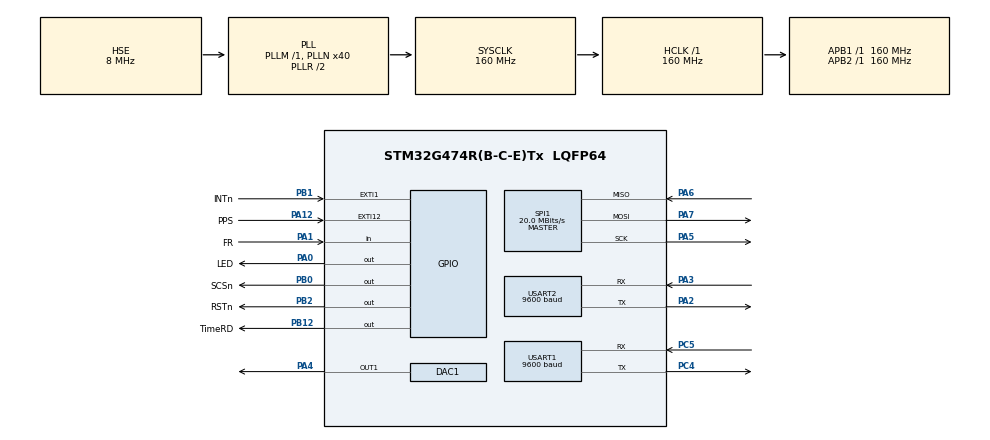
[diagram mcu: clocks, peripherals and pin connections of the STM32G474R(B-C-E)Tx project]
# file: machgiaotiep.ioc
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DAC1.DAC_Trigger_OUT1-DAC_OUT1=DAC_TRIGGER_T2_TRGO
Dma.DAC1_CH1.0.Direction=DMA_MEMORY_TO_PERIPH
Dma.DAC1_CH1.0.EventEnable=DISABLE
Dma.DAC1_CH1.0.Instance=DMA1_Channel1
Dma.DAC1_CH1.0.MemDataAlignment=DMA_MDATAALIGN_WORD
Dma.DAC1_CH1.0.MemInc=DMA_MINC_ENABLE
Dma.DAC1_CH1.0.Mode=DMA_CIRCULAR
Dma.DAC1_CH1.0.PeriphDataAlignment=DMA_PDATAALIGN_WORD
Dma.DAC1_CH1.0.PeriphInc=DMA_PINC_DISABLE
Dma.DAC1_CH1.0.Polarity=HAL_DMAMUX_REQ_GEN_RISING
Dma.DAC1_CH1.0.Priority=DMA_PRIORITY_LOW
Dma.DAC1_CH1.0.RequestNumber=1
Dma.DAC1_CH1.0.SignalID=NONE
Dma.DAC1_CH1.0.SyncEnable=DISABLE
Dma.DAC1_CH1.0.SyncPolarity=HAL_DMAMUX_SYNC_NO_EVENT
Dma.DAC1_CH1.0.SyncRequestNumber=1
Dma.DAC1_CH1.0.SyncSignalID=NONE
Dma.Request0=DAC1_CH1
Mcu.Family=STM32G4
Mcu.Name=STM32G474R(B-C-E)Tx
Mcu.Package=LQFP64
NVIC.DMA1_Channel1_IRQn=true\:0\:0\:false\:false\:true\:false\:true\:true
NVIC.EXTI15_10_IRQn=true\:0\:0\:false\:false\:true\:true\:true\:true
NVIC.EXTI1_IRQn=true\:0\:0\:false\:false\:true\:true\:true\:true
NVIC.PriorityGroup=NVIC_PRIORITYGROUP_4
NVIC.TIM3_IRQn=true\:0\:0\:false\:false\:true\:true\:true\:true
NVIC.USART1_IRQn=true\:0\:0\:false\:false\:true\:true\:true\:true
NVIC.USART2_IRQn=true\:0\:0\:false\:false\:true\:true\:true\:true
PA0.GPIO_Label=LED
PA0.Signal=GPIO_Output
PA1.GPIO_Label=FR
PA1.Signal=GPIO_Input
PA12.GPIO_Label=PPS
PA12.GPIO_ModeDefaultEXTI=GPIO_MODE_IT_FALLING
PA12.GPIO_PuPd=GPIO_PULLUP
PA12.Signal=GPXTI12
PA2.Mode=Asynchronous
PA2.Signal=USART2_TX
PA3.Mode=Asynchronous
PA3.Signal=USART2_RX
PA4.Signal=COMP_DAC11_group
PA5.Mode=Full_Duplex_Master
PA5.Signal=SPI1_SCK
PA6.Mode=Full_Duplex_Master
PA6.Signal=SPI1_MISO
PA7.Mode=Full_Duplex_Master
PA7.Signal=SPI1_MOSI
PB0.GPIO_Label=SCSn
PB0.Signal=GPIO_Output
PB1.GPIO_Label=INTn
PB1.GPIO_ModeDefaultEXTI=GPIO_MODE_IT_FALLING
PB1.GPIO_PuPd=GPIO_PULLUP
PB1.Signal=GPXTI1
PB12.GPIO_Label=TimeRD
PB12.Signal=GPIO_Output
PB2.GPIO_Label=RSTn
PB2.Signal=GPIO_Output
PC4.Mode=Asynchronous
PC4.Signal=USART1_TX
PC5.Mode=Asynchronous
PC5.Signal=USART1_RX
PF0-OSC_IN.Mode=HSE-External-Oscillator
PF0-OSC_IN.Signal=RCC_OSC_IN
PF1-OSC_OUT.Mode=HSE-External-Oscillator
PF1-OSC_OUT.Signal=RCC_OSC_OUT
ProjectManager.HeapSize=0x200
ProjectManager.StackSize=0x400
ProjectManager.TargetToolchain=MDK-ARM V5
RCC.ADC12Freq_Value=160000000
RCC.ADC345Freq_Value=160000000
RCC.AHBFreq_Value=160000000
RCC.APB1Freq_Value=160000000
RCC.APB1TimFreq_Value=160000000
RCC.APB2Freq_Value=160000000
RCC.APB2TimFreq_Value=160000000
RCC.CortexFreq_Value=160000000
RCC.EXTERNAL_CLOCK_VALUE=12288000
RCC.HCLKFreq_Value=160000000
RCC.HSE_VALUE=8000000
RCC.HSI48_VALUE=48000000
RCC.HSI_VALUE=16000000
RCC.LSE_VALUE=32768
RCC.PLLN=40
RCC.PLLSourceVirtual=RCC_PLLSOURCE_HSE
RCC.SYSCLKFreq_VALUE=160000000
RCC.SYSCLKSource=RCC_SYSCLKSOURCE_PLLCLK
RCC.USBFreq_Value=160000000
RCC.VCOOutputFreq_Value=320000000
SH.COMP_DAC11_group.0=DAC1_OUT1,DAC_OUT1
SPI1.BaudRatePrescaler=SPI_BAUDRATEPRESCALER_8
SPI1.CLKPhase=SPI_PHASE_2EDGE
SPI1.CLKPolarity=SPI_POLARITY_HIGH
SPI1.CalculateBaudRate=20.0 MBits/s
SPI1.DataSize=SPI_DATASIZE_8BIT
SPI1.Direction=SPI_DIRECTION_2LINES
SPI1.Mode=SPI_MODE_MASTER
SPI1.VirtualType=VM_MASTER
TIM2.PeriodNoDither=1249
TIM2.TIM_MasterOutputTrigger=TIM_TRGO_UPDATE
TIM3.AutoReloadPreload=TIM_AUTORELOAD_PRELOAD_DISABLE
TIM3.PeriodNoDither=1000-1
TIM3.Prescaler=160-1
TIM4.AutoReloadPreload=TIM_AUTORELOAD_PRELOAD_DISABLE
TIM4.PeriodNoDither=9999
TIM4.Prescaler=16000-1
USART1.BaudRate=9600
USART1.VirtualMode-Asynchronous=VM_ASYNC
USART2.BaudRate=9600
USART2.VirtualMode-Asynchronous=VM_ASYNC
VP_SYS_VS_DBSignals.Mode=DisableDeadBatterySignals
VP_TIM2_VS_ClockSourceINT.Mode=Internal
VP_TIM3_VS_ClockSourceINT.Mode=Internal
VP_TIM4_VS_ClockSourceINT.Mode=Internal
board=custom

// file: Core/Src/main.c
/* USER CODE BEGIN Header */
/**
  ******************************************************************************
  * @file           : main.c
  * @brief          : Main program body
  ******************************************************************************
  * @attention
  *
  * Copyright (c) 2022 STMicroelectronics.
  * All rights reserved.
  *
  * This software is licensed under terms that can be found in the LICENSE file
  * in the root directory of this software component.
  * If no LICENSE file comes with this software, it is provided AS-IS.
  *
  ******************************************************************************
  */
/* USER CODE END Header */
#include "main.h"

/* USER CODE BEGIN Includes */
#include <stdint.h>
#include <string.h>
#include <time.h>
#include "stdio.h"

#include "wizchip_conf.h"
#include "irigb.h"

#include "httpServer.h"
#include "webpage.h"
#include "snmp.h"

/* USER CODE END Includes */

/* USER CODE BEGIN PTD */
#define fractionOfSecond TIM4->CNT
/* USER CODE END PTD */

/* USER CODE BEGIN PM */

//#define irigb_debug
//bo dem irigB 0-99
int8_t codecounter = 0;
volatile unsigned int hourcode=0, minutecode=0, secondcode=0, daycode=0, monthcode=0, yearcode=0, nodaycode=0;
uint8_t startbuildcode,stopbuildcode;
void resetirigbcode(void);
volatile char time_buff1[7], time_buff2[7];
volatile char date_buff1[7], date_buff2[7];
unsigned char daysofmonth[12]={31,28,31,30,31,30,31,31,30,31,30,31};
unsigned char daysofmonth2[12]={31,29,31,30,31,30,31,31,30,31,30,31};
//unsigned long timeofday=0;
/* end of irigb variables -------------------------------------------------------------*/

extern time_t unixTime_last_sync;
extern uint8_t serverPacket[];
extern time_t micros_recv;
//time_t micros_offset = 0;
//time_t transmitTime = 0;
//time_t micros_transmit = 0;
extern time_t recvTime;

time_t timenow = 1651133756;
struct tm* timeinfo;

uint32_t	_loop1=0;
wiz_NetInfo myipWIZNETINFO = { .mac = {0x0A, 0x09, 0xDC,0x4F, 0xEB, 0x6F},
															 .ip = {192, 168, 6, 100},
															 .sn = {255,255,255,1},
															 .gw = {192, 168, 6, 1},
															 .dns = {8,8,8,8},
															 .dhcp = NETINFO_STATIC };

uint8_t u1Timeout = 0;
uint8_t u2Timeout = 0;
uint32_t timct=0;

//for smnp
// lost signal : if after timeOutLostSignal seconds without GPS master message => lost
int8_t lostSignal = 0;
int8_t timeOutLostSignal = 30;
uint8_t gps1_stt = 0;
uint8_t gps2_stt = 0;
uint8_t power1_stt = 0;
uint8_t power2_stt = 0;
uint8_t SNMPmanagerIP[4] ={192, 168, 6, 164};
uint8_t SNMPagentIP[4]   ={192, 168, 6, 164};

uint8_t days = 0;
uint8_t months = 0;
uint8_t years = 0;
uint8_t hours = 0;
uint8_t minutes = 0;
uint8_t seconds = 0;
struct tm currtime;

//NTP client
extern uint16_t RetrySend ; //60 giay
extern uint16_t sycnPeriod ;// 1 gio
void SNTP_init(void);
int8_t SNTP_run(void);

//UART
/* Size of Reception buffer */
#define RXBUFFERSIZE                      100
/* Buffer used for reception */
uint8_t aRxBuffer[RXBUFFERSIZE];
volatile uint32_t snmp_tick_1ms = 0;
/* USER CODE END PM */

 DAC_HandleTypeDef hdac1;
DMA_HandleTypeDef hdma_dac1_ch1;

SPI_HandleTypeDef hspi1;

TIM_HandleTypeDef htim2;
TIM_HandleTypeDef htim3;
TIM_HandleTypeDef htim4;

UART_HandleTypeDef huart1;
UART_HandleTypeDef huart2;

void SystemClock_Config(void);
static void MX_GPIO_Init(void);
static void MX_DMA_Init(void);
static void MX_DAC1_Init(void);
static void MX_SPI1_Init(void);
static void MX_TIM2_Init(void);
static void MX_TIM3_Init(void);
static void MX_TIM4_Init(void);
static void MX_USART1_UART_Init(void);
static void MX_USART2_UART_Init(void);

/* USER CODE BEGIN 0 */
void storeValue(void);
void loadValue(void);
void w5500_lib_init(void);
void ntpserverdefaultconfig(void);
void INT_NTP(void);
int32_t NTPUDP(void);

void main_message_handle(void);
void u1_message_handle(void);
void build_irigB_code(void);
/* USER CODE END 0 */

int main(void)
{
  /* USER CODE BEGIN 1 */
  int32_t ret = 0;
	int8_t count_to_send_main=0;
	char msg[100];
  /* USER CODE END 1 */

  /* MCU Configuration--------------------------------------------------------*/

  /* Reset of all peripherals, Initializes the Flash interface and the Systick. */
  HAL_Init();

  /* Configure the system clock */
  SystemClock_Config();

  /* Initialize all configured peripherals */
  MX_GPIO_Init();
  MX_DMA_Init();
  MX_DAC1_Init();
  MX_SPI1_Init();
  MX_TIM2_Init();
  MX_TIM3_Init();
  MX_TIM4_Init();
  MX_USART1_UART_Init();
  MX_USART2_UART_Init();
  /* USER CODE BEGIN 2 */
  printf("This code gen by STMcube; STM32G474RBT6@160MHz\r\n");

	//storeValue();
	//loadValue();
	w5500_lib_init();

	HAL_GPIO_WritePin(TimeRD_GPIO_Port, TimeRD_Pin, GPIO_PIN_SET);
	HAL_UART_Transmit(&huart1, (uint8_t *)"UART1 TX ok\r\n", 13, 100);
	sprintf(msg,"IP %d.%d.%d.%d\r\n",myipWIZNETINFO.ip[0],myipWIZNETINFO.ip[1],myipWIZNETINFO.ip[2],myipWIZNETINFO.ip[3]);
	HAL_UART_Transmit(&huart1, (uint8_t *)msg, 20, 100);
	HAL_GPIO_WritePin(TimeRD_GPIO_Port, TimeRD_Pin, GPIO_PIN_RESET);

	HAL_DAC_Start(&hdac1, DAC_CHANNEL_1);
	HAL_DAC_Start_DMA(&hdac1, DAC_CHANNEL_1, (uint32_t*)_Bit0, 1280, DAC_ALIGN_12B_R);

	HAL_TIM_Base_Start(&htim2);
	HAL_TIM_Base_Start_IT(&htim3);
	HAL_TIM_Base_Start(&htim4);
  /* USER CODE END 2 */

  /* Infinite loop */
  /* USER CODE BEGIN WHILE */

	//SNTP_init();

	printf("Run\r\n");
	unixTime_last_sync = timenow;
	timeinfo = localtime( &timenow );
	printf("Current local time and date: %s\r\n", asctime(timeinfo));

	//printf("HH-MM-SS :%d-%d-%d\r\n",timeinfo->tm_hour,timeinfo->tm_min,timeinfo->tm_sec);
	//printf("DD-MM-YY :%d-%d-%d\r\n",timeinfo->tm_mday,1+timeinfo->tm_mon,timeinfo->tm_year-100);
	codecounter = 0;
	days = timeinfo->tm_mday;
  months = 1+timeinfo->tm_mon;
  years = timeinfo->tm_year-100;
  hours = timeinfo->tm_hour;
  minutes = timeinfo->tm_min;
  seconds = timeinfo->tm_sec;

  build_irigB_code();
	ntpserverdefaultconfig();
	/* SNMP(Simple Network Management Protocol) Agent Initialize */
	// NMS (SNMP manager) IP address
	//snmpd_init(SNMPmanagerIP,SNMPagentIP,SOCK_agent,SOCK_trap);
	snmp_init();
	loadwebpages();
	fractionOfSecond = 0;

	HAL_UART_Abort(&huart2);
  if (HAL_UART_Receive_IT(&huart2, (uint8_t *)aRxBuffer, RXBUFFERSIZE) != HAL_OK)
  {
    /* Transfer error in reception process */
    Error_Handler();
  }

  while (1)
  {

    /* USER CODE END WHILE */

    /* USER CODE BEGIN 3 */
		if(u2Timeout == 1)
			{
				u2Timeout = 0;
				main_message_handle();

				//printf("aRxBuffer %s; \r\n",aRxBuffer);
				huart2.pRxBuffPtr = (uint8_t *)aRxBuffer;
				huart2.RxXferCount = RXBUFFERSIZE;
				memset(aRxBuffer,0,RXBUFFERSIZE);
			}
		if( (ret = NTPUDP()) < 0) {
				printf("SOCKET ERROR : %d\r\n", ret);
				NVIC_SystemReset();
		}
		if(u2Timeout == 1)
			{
				u2Timeout = 0;
				main_message_handle();

				//printf("aRxBuffer %s; \r\n",aRxBuffer);
				huart2.pRxBuffPtr = (uint8_t *)aRxBuffer;
				huart2.RxXferCount = RXBUFFERSIZE;
				memset(aRxBuffer,0,RXBUFFERSIZE);
			}
		{	//SNMPv1 run
			//Run SNMP Agent Fucntion
			/* SNMP Agent Handler */
			//SMI Network Management Private Enterprise Codes: : moi cong ty phai dang ky 1 so rieng,
			//tham khao : https://www.iana.org/assignments/enterprise-numbers/enterprise-numbers
			// Vi du Arduino : 36582
    	// SNMP Agent daemon process : User can add the OID and OID mapped functions to snmpData[] array in snmprun.c/.h
			// [net-snmp version 5.7 package for windows] is used for this demo.
			// * Command example
    	// [Command] Get:			  snmpget -v 1 -c public 192.168.22.163 .1.3.6.1.2.1.1.1.0 			// (sysDescr)
    	// [Command] Get: 			snmpget -v 1 -c public 192.168.1.165 .1.3.6.1.4.1.6.1.0 			// (Custom, get LED status)
    	// [Command] Get-Next: 	snmpwalk -v 1 -c public 192.168.22.163 .1.3.6.1
			// [Command] Set: 			snmpset -v 1 -c public 192.168.1.165 .1.3.6.1.4.1.6.1.1 i 1			// (Custom, LED 'On')
    	// [Command] Set: 			snmpset -v 1 -c public 192.168.1.165 .1.3.6.1.4.1.6.1.1 i 0			// (Custom, LED 'Off')
			snmpd_run2();

		}
		if(u2Timeout == 1)
			{
				u2Timeout = 0;
				main_message_handle();

				//printf("aRxBuffer %s; \r\n",aRxBuffer);
				huart2.pRxBuffPtr = (uint8_t *)aRxBuffer;
				huart2.RxXferCount = RXBUFFERSIZE;
				memset(aRxBuffer,0,RXBUFFERSIZE);
			}
		// web server
			httpServer_run(0);
			httpServer_run(1);
			httpServer_run(2);
		if(u2Timeout == 1)
			{
				u2Timeout = 0;
				main_message_handle();

				//printf("aRxBuffer %s; \r\n",aRxBuffer);
				huart2.pRxBuffPtr = (uint8_t *)aRxBuffer;
				huart2.RxXferCount = RXBUFFERSIZE;
				memset(aRxBuffer,0,RXBUFFERSIZE);
			}
		SNTP_run();
		if(u2Timeout == 1)
			{
				u2Timeout = 0;
				main_message_handle();

				//printf("aRxBuffer %s; \r\n",aRxBuffer);
				huart2.pRxBuffPtr = (uint8_t *)aRxBuffer;
				huart2.RxXferCount = RXBUFFERSIZE;
				memset(aRxBuffer,0,RXBUFFERSIZE);
			}

			if(timct > 1000) {
			timct = 0;
			timenow++;
			count_to_send_main++;

			RetrySend++;
			sycnPeriod++;

			HAL_GPIO_WritePin(LED_GPIO_Port, LED_Pin, GPIO_PIN_RESET);

			//printf("1s\r\n");
			HAL_Delay(50);
			HAL_GPIO_WritePin(LED_GPIO_Port, LED_Pin, GPIO_PIN_SET);

			HAL_Delay(50);

		}
		//sau bao lau thi gui thong tin cho mach main?
		if(count_to_send_main > 5)
		{
			count_to_send_main = 0;
			//printf("IP:%02X.%02X.%02X.%02X\r\n",myipWIZNETINFO.ip[0],myipWIZNETINFO.ip[1],myipWIZNETINFO.ip[2],myipWIZNETINFO.ip[3]);
			printf("IP :%d.%d.%d.%d",myipWIZNETINFO.ip[0],myipWIZNETINFO.ip[1],myipWIZNETINFO.ip[2],myipWIZNETINFO.ip[3]);
		}
		if(u2Timeout == 1)
			{
				u2Timeout = 0;
				main_message_handle();

				//printf("aRxBuffer %s; \r\n",aRxBuffer);
				huart2.pRxBuffPtr = (uint8_t *)aRxBuffer;
				huart2.RxXferCount = RXBUFFERSIZE;
				memset(aRxBuffer,0,RXBUFFERSIZE);
			}
		if(u1Timeout == 1)
			{
				u1Timeout = 0;
				u1_message_handle();
			}
  }
  /* USER CODE END 3 */
}

void SystemClock_Config(void)
{
  RCC_OscInitTypeDef RCC_OscInitStruct = {0};
  RCC_ClkInitTypeDef RCC_ClkInitStruct = {0};

  /** Configure the main internal regulator output voltage
  */
  HAL_PWREx_ControlVoltageScaling(PWR_REGULATOR_VOLTAGE_SCALE1_BOOST);

  /** Initializes the RCC Oscillators according to the specified parameters
  * in the RCC_OscInitTypeDef structure.
  */
  RCC_OscInitStruct.OscillatorType = RCC_OSCILLATORTYPE_HSE;
  RCC_OscInitStruct.HSEState = RCC_HSE_ON;
  RCC_OscInitStruct.PLL.PLLState = RCC_PLL_ON;
  RCC_OscInitStruct.PLL.PLLSource = RCC_PLLSOURCE_HSE;
  RCC_OscInitStruct.PLL.PLLM = RCC_PLLM_DIV1;
  RCC_OscInitStruct.PLL.PLLN = 40;
  RCC_OscInitStruct.PLL.PLLP = RCC_PLLP_DIV2;
  RCC_OscInitStruct.PLL.PLLQ = RCC_PLLQ_DIV2;
  RCC_OscInitStruct.PLL.PLLR = RCC_PLLR_DIV2;
  if (HAL_RCC_OscConfig(&RCC_OscInitStruct) != HAL_OK)
  {
    Error_Handler();
  }

  /** Initializes the CPU, AHB and APB buses clocks
  */
  RCC_ClkInitStruct.ClockType = RCC_CLOCKTYPE_HCLK|RCC_CLOCKTYPE_SYSCLK
                              |RCC_CLOCKTYPE_PCLK1|RCC_CLOCKTYPE_PCLK2;
  RCC_ClkInitStruct.SYSCLKSource = RCC_SYSCLKSOURCE_PLLCLK;
  RCC_ClkInitStruct.AHBCLKDivider = RCC_SYSCLK_DIV1;
  RCC_ClkInitStruct.APB1CLKDivider = RCC_HCLK_DIV1;
  RCC_ClkInitStruct.APB2CLKDivider = RCC_HCLK_DIV1;

  if (HAL_RCC_ClockConfig(&RCC_ClkInitStruct, FLASH_LATENCY_4) != HAL_OK)
  {
    Error_Handler();
  }
}

static void MX_DAC1_Init(void)
{

  DAC_ChannelConfTypeDef sConfig = {0};

  /** DAC Initialization
  */
  hdac1.Instance = DAC1;
  if (HAL_DAC_Init(&hdac1) != HAL_OK)
  {
    Error_Handler();
  }

  /** DAC channel OUT1 config
  */
  sConfig.DAC_HighFrequency = DAC_HIGH_FREQUENCY_INTERFACE_MODE_AUTOMATIC;
  sConfig.DAC_DMADoubleDataMode = DISABLE;
  sConfig.DAC_SignedFormat = DISABLE;
  sConfig.DAC_SampleAndHold = DAC_SAMPLEANDHOLD_DISABLE;
  sConfig.DAC_Trigger = DAC_TRIGGER_T2_TRGO;
  sConfig.DAC_Trigger2 = DAC_TRIGGER_NONE;
  sConfig.DAC_OutputBuffer = DAC_OUTPUTBUFFER_ENABLE;
  sConfig.DAC_ConnectOnChipPeripheral = DAC_CHIPCONNECT_EXTERNAL;
  sConfig.DAC_UserTrimming = DAC_TRIMMING_FACTORY;
  if (HAL_DAC_ConfigChannel(&hdac1, &sConfig, DAC_CHANNEL_1) != HAL_OK)
  {
    Error_Handler();
  }

}

static void MX_SPI1_Init(void)
{

  /* SPI1 parameter configuration*/
  hspi1.Instance = SPI1;
  hspi1.Init.Mode = SPI_MODE_MASTER;
  hspi1.Init.Direction = SPI_DIRECTION_2LINES;
  hspi1.Init.DataSize = SPI_DATASIZE_8BIT;
  hspi1.Init.CLKPolarity = SPI_POLARITY_HIGH;
  hspi1.Init.CLKPhase = SPI_PHASE_2EDGE;
  hspi1.Init.NSS = SPI_NSS_SOFT;
  hspi1.Init.BaudRatePrescaler = SPI_BAUDRATEPRESCALER_8;
  hspi1.Init.FirstBit = SPI_FIRSTBIT_MSB;
  hspi1.Init.TIMode = SPI_TIMODE_DISABLE;
  hspi1.Init.CRCCalculation = SPI_CRCCALCULATION_DISABLE;
  hspi1.Init.CRCPolynomial = 7;
  hspi1.Init.CRCLength = SPI_CRC_LENGTH_DATASIZE;
  hspi1.Init.NSSPMode = SPI_NSS_PULSE_DISABLE;
  if (HAL_SPI_Init(&hspi1) != HAL_OK)
  {
    Error_Handler();
  }

}

static void MX_TIM2_Init(void)
{

  TIM_ClockConfigTypeDef sClockSourceConfig = {0};
  TIM_MasterConfigTypeDef sMasterConfig = {0};

  htim2.Instance = TIM2;
  htim2.Init.Prescaler = 0;
  htim2.Init.CounterMode = TIM_COUNTERMODE_UP;
  htim2.Init.Period = 1249;
  htim2.Init.ClockDivision = TIM_CLOCKDIVISION_DIV1;
  htim2.Init.AutoReloadPreload = TIM_AUTORELOAD_PRELOAD_DISABLE;
  if (HAL_TIM_Base_Init(&htim2) != HAL_OK)
  {
    Error_Handler();
  }
  sClockSourceConfig.ClockSource = TIM_CLOCKSOURCE_INTERNAL;
  if (HAL_TIM_ConfigClockSource(&htim2, &sClockSourceConfig) != HAL_OK)
  {
    Error_Handler();
  }
  sMasterConfig.MasterOutputTrigger = TIM_TRGO_UPDATE;
  sMasterConfig.MasterSlaveMode = TIM_MASTERSLAVEMODE_DISABLE;
  if (HAL_TIMEx_MasterConfigSynchronization(&htim2, &sMasterConfig) != HAL_OK)
  {
    Error_Handler();
  }

}

static void MX_TIM3_Init(void)
{

  TIM_ClockConfigTypeDef sClockSourceConfig = {0};
  TIM_MasterConfigTypeDef sMasterConfig = {0};

  /* USER CODE BEGIN TIM3_Init 1 */
  //1ms counter
  /* USER CODE END TIM3_Init 1 */
  htim3.Instance = TIM3;
  htim3.Init.Prescaler = 160-1;
  htim3.Init.CounterMode = TIM_COUNTERMODE_UP;
  htim3.Init.Period = 999;
  htim3.Init.ClockDivision = TIM_CLOCKDIVISION_DIV1;
  htim3.Init.AutoReloadPreload = TIM_AUTORELOAD_PRELOAD_DISABLE;
  if (HAL_TIM_Base_Init(&htim3) != HAL_OK)
  {
    Error_Handler();
  }
  sClockSourceConfig.ClockSource = TIM_CLOCKSOURCE_INTERNAL;
  if (HAL_TIM_ConfigClockSource(&htim3, &sClockSourceConfig) != HAL_OK)
  {
    Error_Handler();
  }
  sMasterConfig.MasterOutputTrigger = TIM_TRGO_RESET;
  sMasterConfig.MasterSlaveMode = TIM_MASTERSLAVEMODE_DISABLE;
  if (HAL_TIMEx_MasterConfigSynchronization(&htim3, &sMasterConfig) != HAL_OK)
  {
    Error_Handler();
  }

}

static void MX_TIM4_Init(void)
{

  TIM_ClockConfigTypeDef sClockSourceConfig = {0};
  TIM_MasterConfigTypeDef sMasterConfig = {0};

  /* USER CODE BEGIN TIM4_Init 1 */
	//	16/Aug/2019, Tuan, use Timer for make a couter 0-0.9999 second for NTP fraction
	//timer uptade frequency = TIM_CLK/(TIM_PSC+1)/(TIM_ARR + 1)
	//TIM_CLK/(TIM_Period + 1) /(Prescaler+1)
  /* USER CODE END TIM4_Init 1 */
  htim4.Instance = TIM4;
  htim4.Init.Prescaler = 16000-1;
  htim4.Init.CounterMode = TIM_COUNTERMODE_UP;
  htim4.Init.Period = 9999;
  htim4.Init.ClockDivision = TIM_CLOCKDIVISION_DIV1;
  htim4.Init.AutoReloadPreload = TIM_AUTORELOAD_PRELOAD_DISABLE;
  if (HAL_TIM_Base_Init(&htim4) != HAL_OK)
  {
    Error_Handler();
  }
  sClockSourceConfig.ClockSource = TIM_CLOCKSOURCE_INTERNAL;
  if (HAL_TIM_ConfigClockSource(&htim4, &sClockSourceConfig) != HAL_OK)
  {
    Error_Handler();
  }
  sMasterConfig.MasterOutputTrigger = TIM_TRGO_RESET;
  sMasterConfig.MasterSlaveMode = TIM_MASTERSLAVEMODE_DISABLE;
  if (HAL_TIMEx_MasterConfigSynchronization(&htim4, &sMasterConfig) != HAL_OK)
  {
    Error_Handler();
  }

}

static void MX_USART1_UART_Init(void)
{

  huart1.Instance = USART1;
  huart1.Init.BaudRate = 9600;
  huart1.Init.WordLength = UART_WORDLENGTH_8B;
  huart1.Init.StopBits = UART_STOPBITS_1;
  huart1.Init.Parity = UART_PARITY_NONE;
  huart1.Init.Mode = UART_MODE_TX_RX;
  huart1.Init.HwFlowCtl = UART_HWCONTROL_NONE;
  huart1.Init.OverSampling = UART_OVERSAMPLING_16;
  huart1.Init.OneBitSampling = UART_ONE_BIT_SAMPLE_DISABLE;
  huart1.Init.ClockPrescaler = UART_PRESCALER_DIV1;
  huart1.AdvancedInit.AdvFeatureInit = UART_ADVFEATURE_NO_INIT;
  if (HAL_UART_Init(&huart1) != HAL_OK)
  {
    Error_Handler();
  }
  if (HAL_UARTEx_SetTxFifoThreshold(&huart1, UART_TXFIFO_THRESHOLD_1_8) != HAL_OK)
  {
    Error_Handler();
  }
  if (HAL_UARTEx_SetRxFifoThreshold(&huart1, UART_RXFIFO_THRESHOLD_1_8) != HAL_OK)
  {
    Error_Handler();
  }
  if (HAL_UARTEx_DisableFifoMode(&huart1) != HAL_OK)
  {
    Error_Handler();
  }

}

static void MX_USART2_UART_Init(void)
{

  huart2.Instance = USART2;
  huart2.Init.BaudRate = 9600;
  huart2.Init.WordLength = UART_WORDLENGTH_8B;
  huart2.Init.StopBits = UART_STOPBITS_1;
  huart2.Init.Parity = UART_PARITY_NONE;
  huart2.Init.Mode = UART_MODE_TX_RX;
  huart2.Init.HwFlowCtl = UART_HWCONTROL_NONE;
  huart2.Init.OverSampling = UART_OVERSAMPLING_16;
  huart2.Init.OneBitSampling = UART_ONE_BIT_SAMPLE_DISABLE;
  huart2.Init.ClockPrescaler = UART_PRESCALER_DIV1;
  huart2.AdvancedInit.AdvFeatureInit = UART_ADVFEATURE_NO_INIT;
  if (HAL_UART_Init(&huart2) != HAL_OK)
  {
    Error_Handler();
  }
  if (HAL_UARTEx_SetTxFifoThreshold(&huart2, UART_TXFIFO_THRESHOLD_1_8) != HAL_OK)
  {
    Error_Handler();
  }
  if (HAL_UARTEx_SetRxFifoThreshold(&huart2, UART_RXFIFO_THRESHOLD_1_8) != HAL_OK)
  {
    Error_Handler();
  }
  if (HAL_UARTEx_DisableFifoMode(&huart2) != HAL_OK)
  {
    Error_Handler();
  }

}

static void MX_DMA_Init(void)
{

  /* DMA controller clock enable */
  __HAL_RCC_DMAMUX1_CLK_ENABLE();
  __HAL_RCC_DMA1_CLK_ENABLE();

  /* DMA interrupt init */
  /* DMA1_Channel1_IRQn interrupt configuration */
  HAL_NVIC_SetPriority(DMA1_Channel1_IRQn, 0, 0);
  HAL_NVIC_EnableIRQ(DMA1_Channel1_IRQn);

}

static void MX_GPIO_Init(void)
{
  GPIO_InitTypeDef GPIO_InitStruct = {0};

  /* GPIO Ports Clock Enable */
  __HAL_RCC_GPIOF_CLK_ENABLE();
  __HAL_RCC_GPIOA_CLK_ENABLE();
  __HAL_RCC_GPIOC_CLK_ENABLE();
  __HAL_RCC_GPIOB_CLK_ENABLE();

  /*Configure GPIO pin Output Level */
  HAL_GPIO_WritePin(LED_GPIO_Port, LED_Pin, GPIO_PIN_RESET);

  /*Configure GPIO pin Output Level */
  HAL_GPIO_WritePin(GPIOB, SCSn_Pin|RSTn_Pin|TimeRD_Pin, GPIO_PIN_RESET);

  /*Configure GPIO pin : LED_Pin */
  GPIO_InitStruct.Pin = LED_Pin;
  GPIO_InitStruct.Mode = GPIO_MODE_OUTPUT_PP;
  GPIO_InitStruct.Pull = GPIO_NOPULL;
  GPIO_InitStruct.Speed = GPIO_SPEED_FREQ_LOW;
  HAL_GPIO_Init(LED_GPIO_Port, &GPIO_InitStruct);

  /*Configure GPIO pin : FR_Pin */
  GPIO_InitStruct.Pin = FR_Pin;
  GPIO_InitStruct.Mode = GPIO_MODE_INPUT;
  GPIO_InitStruct.Pull = GPIO_NOPULL;
  HAL_GPIO_Init(FR_GPIO_Port, &GPIO_InitStruct);

  /*Configure GPIO pins : SCSn_Pin RSTn_Pin TimeRD_Pin */
  GPIO_InitStruct.Pin = SCSn_Pin|RSTn_Pin|TimeRD_Pin;
  GPIO_InitStruct.Mode = GPIO_MODE_OUTPUT_PP;
  GPIO_InitStruct.Pull = GPIO_NOPULL;
  GPIO_InitStruct.Speed = GPIO_SPEED_FREQ_LOW;
  HAL_GPIO_Init(GPIOB, &GPIO_InitStruct);

  /*Configure GPIO pin : INTn_Pin */
  GPIO_InitStruct.Pin = INTn_Pin;
  GPIO_InitStruct.Mode = GPIO_MODE_IT_FALLING;
  GPIO_InitStruct.Pull = GPIO_PULLUP;
  HAL_GPIO_Init(INTn_GPIO_Port, &GPIO_InitStruct);

  /*Configure GPIO pin : PPS_Pin */
  GPIO_InitStruct.Pin = PPS_Pin;
  GPIO_InitStruct.Mode = GPIO_MODE_IT_FALLING;
  GPIO_InitStruct.Pull = GPIO_PULLUP;
  HAL_GPIO_Init(PPS_GPIO_Port, &GPIO_InitStruct);

  /* EXTI interrupt init*/
  HAL_NVIC_SetPriority(EXTI1_IRQn, 0, 0);
  HAL_NVIC_EnableIRQ(EXTI1_IRQn);

  HAL_NVIC_SetPriority(EXTI15_10_IRQn, 0, 0);
  HAL_NVIC_EnableIRQ(EXTI15_10_IRQn);

}

/* USER CODE BEGIN 4 */
/**
  * @brief EXTI line detection callbacks
  * @param GPIO_Pin: Specifies the pins connected EXTI line
	* Neu co GPS, se co xung PPS tai thoi diem bat dau moi giay
  * If GPS avaiable, PPS pulse start at the start of a second
  * @retval None
  */
void HAL_GPIO_EXTI_Callback(uint16_t GPIO_Pin)
{
  //Dong bo xung PPS voi mach main GPS, moi lan co xung la thoi diem bat dau cua giay
	//sync the start of a second by pps signal
	if (GPIO_Pin == PPS_Pin)
  {
		//HAL_GPIO_WritePin(MAIN_PPS_GPIO_Port, MAIN_PPS_Pin, GPIO_PIN_SET);
		//printf("PPS\r\n");
		//fractionOfSecond = 0;
  }
	if (GPIO_Pin == INTn_Pin)
  {
		//Nhan duoc ban tin NTP, xu ly thoi gian va phan hoi
		//Receied NTP message, processing and respond
		//printf("NTP\r\n");
		INT_NTP();
  }

}
#ifdef __GNUC__
  /* With GCC/RAISONANCE, small printf (option LD Linker->Libraries->Small printf
     set to 'Yes') calls __io_putchar() */
  #define PUTCHAR_PROTOTYPE int __io_putchar(int ch)
#else
  #define PUTCHAR_PROTOTYPE int fputc(int ch, FILE *f)
#endif /* __GNUC__ */

/**
  * @brief  Retargets the C library printf function to the USART.
  * @param  None
  * @retval None
  */
PUTCHAR_PROTOTYPE
{
	/* Place your implementation of fputc here */
	/* e.g. write a character to the USART */
	HAL_UART_Transmit(&huart2, (uint8_t *)&ch, 1, 100);
	return ch;
}

void build_irigB_code(void)
{
	uint8_t n=0;

						hourcode   = hours;
						minutecode = minutes;
						secondcode = seconds;

						daycode   = days;
						monthcode = months;
						yearcode  = years;

#ifdef irigb_debug
						printf("HH-MM-SS :%d-%d-%d",hours,minutes,seconds);
						printf("DD-MM-YY :%d-%d-%d",days,months,years);
#endif
						for (n=0; n<monthcode-1;n++)
						{
							if ((yearcode%4)==0) nodaycode+=daysofmonth2[n];
							else nodaycode+=daysofmonth[n];
						}
						nodaycode+=daycode;

						if (secondcode>=40) {irigb_code[8]=1;secondcode-=40;}
						if (secondcode>=20) {irigb_code[7]=1;secondcode-=20;}
						if (secondcode>=10) {irigb_code[6]=1;secondcode-=10;}
						if (secondcode>=8) {irigb_code[4]=1;secondcode-=8;}
						if (secondcode>=4) {irigb_code[3]=1;secondcode-=4;}
						if (secondcode>=2) {irigb_code[2]=1;secondcode-=2;}
						if (secondcode>=1) {irigb_code[1]=1;}

						if (minutecode>=40) {irigb_code[17]=1;minutecode-=40;}
						if (minutecode>=20) {irigb_code[16]=1;minutecode-=20;}
						if (minutecode>=10) {irigb_code[15]=1;minutecode-=10;}
						if (minutecode>=8) {irigb_code[13]=1;minutecode-=8;}
						if (minutecode>=4) {irigb_code[12]=1;minutecode-=4;}
						if (minutecode>=2) {irigb_code[11]=1;minutecode-=2;}
						if (minutecode>=1) {irigb_code[10]=1;}

						if (hourcode>=20) {irigb_code[26]=1;hourcode-=20;}
						if (hourcode>=10) {irigb_code[25]=1;hourcode-=10;}
						if (hourcode>=8) {irigb_code[23]=1;hourcode-=8;}
						if (hourcode>=4) {irigb_code[22]=1;hourcode-=4;}
						if (hourcode>=2) {irigb_code[21]=1;hourcode-=2;}
						if (hourcode>=1) {irigb_code[20]=1;}

						if (yearcode>=80) {irigb_code[58]=1;yearcode-=80;}
						if (yearcode>=40) {irigb_code[57]=1;yearcode-=40;}
						if (yearcode>=20) {irigb_code[56]=1;yearcode-=20;}
						if (yearcode>=10) {irigb_code[55]=1;yearcode-=10;}
						if (yearcode>=8) {irigb_code[53]=1;yearcode-=8;}
						if (yearcode>=4) {irigb_code[52]=1;yearcode-=4;}
						if (yearcode>=2) {irigb_code[51]=1;yearcode-=2;}
						if (yearcode>=1) {irigb_code[50]=1;}

						if (nodaycode>=200) {irigb_code[41]=1;nodaycode-=200;}
						if (nodaycode>=100) {irigb_code[40]=1;nodaycode-=100;}
						if (nodaycode>=80) {irigb_code[38]=1;nodaycode-=80;}
						if (nodaycode>=40) {irigb_code[37]=1;nodaycode-=40;}
						if (nodaycode>=20) {irigb_code[36]=1;nodaycode-=20;}
						if (nodaycode>=10) {irigb_code[35]=1;nodaycode-=10;}
						if (nodaycode>=8) {irigb_code[33]=1;nodaycode-=8;}
						if (nodaycode>=4) {irigb_code[32]=1;nodaycode-=4;}
						if (nodaycode>=2) {irigb_code[31]=1;nodaycode-=2;}
						if (nodaycode>=1) {irigb_code[30]=1;}
#ifdef irigb_debug
						printf("IRIGB-code:\r\n");
						for(n = 0; n<100; n++)
						{
							if(irigb_code[n] == 2) printf("P ");
							else printf("%d ",irigb_code[n]);
						}
						printf("\r\n end IRIGB-code:\r\n");
#endif
}
void resetirigbcode(void)
{
unsigned char i=0;
	for (i=0;i<100;i++)
	{
		irigb_code[i]=0;
	}
	irigb_code[0]=2;irigb_code[9]=2;irigb_code[19]=2;irigb_code[29]=2;
	irigb_code[39]=2;irigb_code[49]=2;irigb_code[59]=2;irigb_code[69]=2;
	irigb_code[79]=2;irigb_code[89]=2;irigb_code[99]=2;
	nodaycode=0;
	hourcode=0;
	minutecode=0;
	secondcode=0;
	daycode=0;
	monthcode=0;
	yearcode=0;
	nodaycode=0;
}

void HAL_DAC_ConvCpltCallbackCh1(DAC_HandleTypeDef *hdac)
{

//	if(_loop1 == 0)
//		{
//			_loop1 = 1;
//			//HAL_DAC_Start_DMA(&hdac1, DAC_CHANNEL_1, (uint32_t*)_Bit0, 1280, DAC_ALIGN_12B_R);
//			hdma_dac1_ch1.Instance->CMAR = (uint32_t)_Bit0;
//		}
//	else
//		{
//			//HAL_DAC_Start_DMA(&hdac1, DAC_CHANNEL_1, (uint32_t*)_BitREF, 1280, DAC_ALIGN_12B_R);
//			hdma_dac1_ch1.Instance->CMAR = (uint32_t)_BitREF;
//			_loop1 = 0;
//		}
		//DAC se tao SIN tung bit0 bit1 bit REF theo bang irigb_code, quet xong 99 -> xong 1s thi quay lai 0 -> bat dau giay moi
		switch(irigb_code[codecounter])
		{
			case IRIGB_bit0:
				hdma_dac1_ch1.Instance->CMAR = (uint32_t)_Bit0;
				break;
			case IRIGB_bit1:
				hdma_dac1_ch1.Instance->CMAR = (uint32_t)_Bit1;
				break;
			case IRIGB_bitP:
				hdma_dac1_ch1.Instance->CMAR = (uint32_t)_BitREF;
				break;
		}
		codecounter++;
		if(codecounter == 99) codecounter = 0;

};

//khi nao buffer full thi no se goi ham nay
void HAL_UART_RxCpltCallback(UART_HandleTypeDef *UartHandle)
{

			if(UartHandle == &huart1)
			{
				//printf("U1 full\r\n");
				HAL_UART_Abort(&huart1);
				if (HAL_UART_Receive_IT(&huart1, (uint8_t *)aRxBuffer, RXBUFFERSIZE) != HAL_OK)
				{
					/* Transfer error in reception process */
					Error_Handler();
				}
			}
			if(UartHandle == &huart2)
			{
				//printf("U2 full\r\n");
				HAL_UART_Abort(&huart2);
				if (HAL_UART_Receive_IT(&huart2, (uint8_t *)aRxBuffer, RXBUFFERSIZE) != HAL_OK)
				{
					/* Transfer error in reception process */
					Error_Handler();
				}
			}

}

//Ham chuyen doi char sang int
uint8_t convert_atoi( uint8_t c)
{
	return (uint8_t)c-48;
}
//Xu ly ban tin tu mach main
void main_message_handle(void)
{//=> Ban tin GPS: $GPS034007060819AA10	;$$GPS091259280422AA10
	if((aRxBuffer[0] =='$')&((aRxBuffer[1] =='G')|(aRxBuffer[1] =='g'))&((aRxBuffer[2] =='P')|(aRxBuffer[2] =='p'))&((aRxBuffer[3] =='S')|(aRxBuffer[3] =='s')))
	{
		//Truyen ban tin cho cac dong ho slave
		HAL_GPIO_WritePin(TimeRD_GPIO_Port, TimeRD_Pin, GPIO_PIN_SET);
		HAL_UART_Transmit(&huart1, aRxBuffer, 20, 100);
		HAL_GPIO_WritePin(TimeRD_GPIO_Port, TimeRD_Pin, GPIO_PIN_RESET);
		/*Truyen gia tri gui len web server*/
		//If there is not GPS master message, no time on webserver
		days 		= 10*convert_atoi(aRxBuffer[10])+convert_atoi(aRxBuffer[11]);
		months 	= 10*convert_atoi(aRxBuffer[12])+convert_atoi(aRxBuffer[13]);
		years 	= 10*convert_atoi(aRxBuffer[14])+convert_atoi(aRxBuffer[15]);
		hours 	= 10*convert_atoi(aRxBuffer[4])+convert_atoi(aRxBuffer[5])  ;//UTC
		minutes = 10*convert_atoi(aRxBuffer[6])+convert_atoi(aRxBuffer[7]);
		seconds = 10*convert_atoi(aRxBuffer[8])+convert_atoi(aRxBuffer[9]);

		//Day coi nhu la diem bat dau cua second, bat dau irigb tu day
		codecounter = 0;
		build_irigB_code();

		/*Cap nhap thoi gian NTP*/
		currtime.tm_year = 100+ years;//100+10*convert_atoi(aRxBuffer[14])+convert_atoi(aRxBuffer[15]);//In fact: 2000+xxx-1900
		currtime.tm_mon  = months-1;//10*convert_atoi(aRxBuffer[12])+convert_atoi(aRxBuffer[13])-1;
		currtime.tm_mday = days;//10*convert_atoi(aRxBuffer[10])+convert_atoi(aRxBuffer[11]);

		currtime.tm_sec  = seconds;//10*convert_atoi(aRxBuffer[8])+convert_atoi(aRxBuffer[9]);
		currtime.tm_min  = minutes;//10*convert_atoi(aRxBuffer[6])+convert_atoi(aRxBuffer[7]);
		currtime.tm_hour = hours;//10*convert_atoi(aRxBuffer[4])+convert_atoi(aRxBuffer[5]);

		timenow = mktime(&currtime);
		//timenow = timenow - 25200;//Tru di 7 tieng
		timeOutLostSignal = 30;//seconds
		lostSignal = GPS_MASTER_OK;

		#ifdef _U1_DEBUG_ENABLE_
		printf("new timestamp:%d\r\n",timenow);
		timeinfo = localtime( &timenow );
		printf("Current local time and date: %s\r\n", asctime(timeinfo));
		#endif
		//Update last sync NTP time server field!
		unixTime_last_sync = timenow + STARTOFTIME;
		unixTime_last_sync = htonl(unixTime_last_sync);
		memcpy(&serverPacket[16], &unixTime_last_sync, 4);

		//Update SNMP data table
		if(aRxBuffer[16]=='A') gps1_stt = 1;
		else gps1_stt = 0;
		if(aRxBuffer[17]=='A') gps2_stt = 1;
		else gps2_stt = 0;
		if(aRxBuffer[18]=='1') power1_stt = 1;
		else power1_stt = 0;
		if(aRxBuffer[19]=='1') power2_stt = 1;
		else power2_stt = 0;
	}
}
/* USER CODE END 4 */

void Error_Handler(void)
{
  __disable_irq();
  while (1)
  {
  }
}
